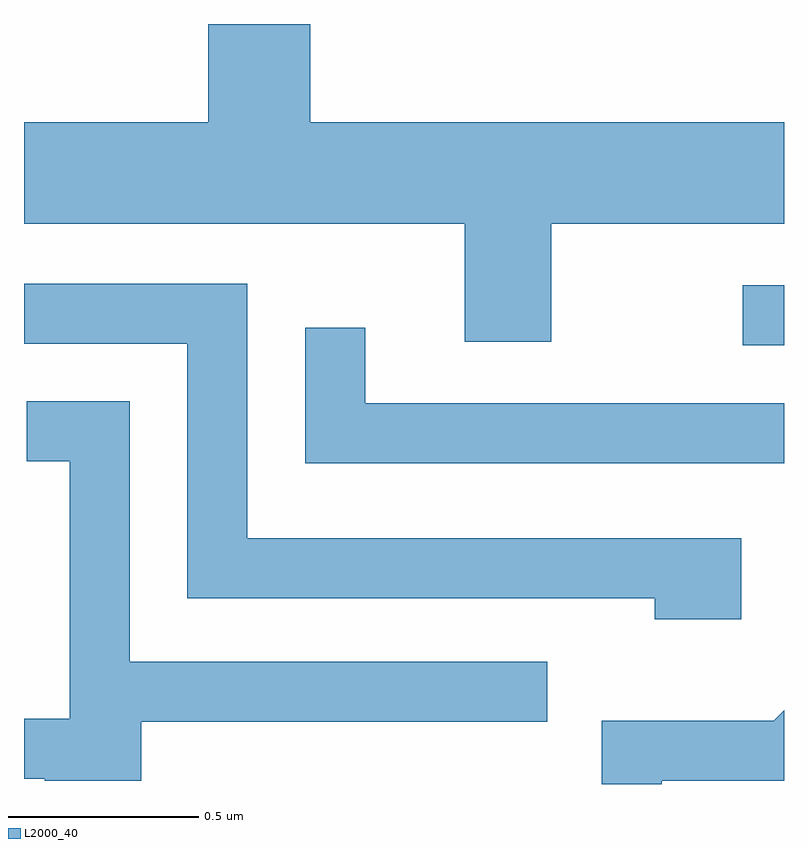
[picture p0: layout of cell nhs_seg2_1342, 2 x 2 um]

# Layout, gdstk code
import gdstk
lib = gdstk.Library(unit=1e-6, precision=1e-09)
def R(c, l, rs):  # rectangles x0, y0, x1, y1
    for r in rs: c.add(gdstk.rectangle(r[:2], r[2:], *l))
def P(c, l, *ps):  # polygons
    for p in ps: c.add(gdstk.Polygon(p, *l))
L2000_40 = (2000, 40)

nhs_seg2_1342 = lib.new_cell('nhs_seg2_1342')
R(nhs_seg2_1342, L2000_40, [(196.503,1087.956,196.611,1088.114)])
P(nhs_seg2_1342, L2000_40, [(195.999,1088.276),(196.611,1088.276),(196.611,1088.544),(195.364,1088.544),(195.364,1088.802),(195.096,1088.802),(195.096,1088.544),(194.611,1088.544),(194.611,1088.276),(195.771,1088.276),(195.771,1087.966),(195.999,1087.966)],
  [(196.499,1087.449),(195.199,1087.449),(195.199,1088.119),(194.611,1088.119),(194.611,1087.961),(195.041,1087.961),(195.041,1087.291),(196.271,1087.291),(196.271,1087.236),(196.499,1087.236)],
  [(196.611,1087.804),(195.509,1087.804),(195.509,1088.003),(195.351,1088.003),(195.351,1087.646),(196.611,1087.646)],
  [(194.919,1086.966),(195.988,1086.966),(195.988,1087.124),(194.889,1087.124),(194.889,1087.809),(194.618,1087.809),(194.618,1087.651),(194.731,1087.651),(194.731,1086.974),(194.611,1086.974),(194.611,1086.816),(194.665,1086.816),(194.665,1086.811),(194.919,1086.811)],
  [(196.289,1086.811),(196.611,1086.811),(196.611,1086.996),(196.584,1086.969),(196.131,1086.969),(196.131,1086.802),(196.289,1086.802)])

lib.write_gds('nhs_seg2_1342.gds')
